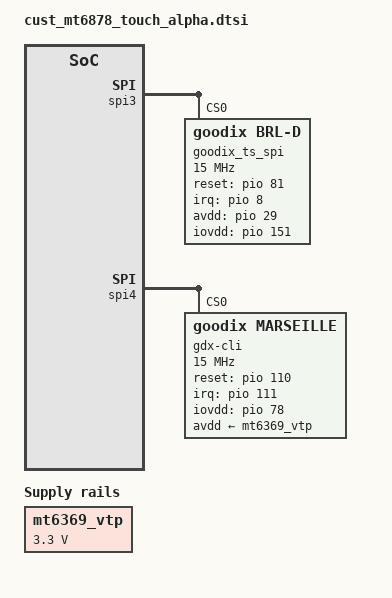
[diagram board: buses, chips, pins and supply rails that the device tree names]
// SPDX-License-Identifier: (GPL-2.0 OR MIT)
/*
 * Copyright (C) 2020 MediaTek Inc.
 */

/* TOUCH start */
&spi3 {
	status = "okay";
	#address-cells = <1>;
	#size-cells = <0>;
	pinctrl-names = "default", "gt9916_int_active",
		"gt9916_reset_active", "gt9916_int_suspend",
		"gt9916_reset_suspend", "gt9916_spi_mode";
	pinctrl-0 = <&ctp_gt9916_pins_default>;
	pinctrl-1 = <&ctp_gt9916_int_active>;
	pinctrl-2 = <&ctp_gt9916_reset_active>;
	pinctrl-3 = <&ctp_gt9916_int_suspend>;
	pinctrl-4 = <&ctp_gt9916_reset_suspend>;
	pinctrl-5 = <&ctp_gt9916_spi_mode>;

	goodix_ts_spi@0 {
		status = "ok";
		compatible = "goodix,brl-d";
		reg = <0x0>;
		spi-max-frequency = <15000000>;  /* 4800000,9600000,15000000,19200000 */

		goodix,panel-max-id = <10>;
		goodix,panel-max-x = <17280>;
		goodix,panel-max-y = <42240>;
		goodix,panel-max-w = <256>;
		goodix,panel-max-p = <256>;
		goodix,reset-gpio = <&pio 81 0x0>;
		goodix,irq-gpio = <&pio 8 0x2002>;
		goodix,irq-flags = <0x2002>; /* 1:trigger rising, 2:trigger falling;*/
		goodix,avdd-gpio = <&pio 29 0x0>;
		goodix,iovdd-gpio = <&pio 151 0x0>;
		goodix,firmware-name = "gt9916_glory_firmware_6878v01_alpha.bin";
		goodix,config-name = "gt9916_glory_cfg_6878v01_alpha.bin";
		gt9916,power-voltage = <2800000>;
		gt9916,firmware-name = "gt9916_glory_firmware_6878v01_alpha.bin";
		gt9916,config-name = "gt9916_glory_cfg_6878v01_alpha.bin";

		pinctrl-names = "default", "sleep", "pmx_ts_release";
		pinctrl-0 = <&ctp_gt9916_pins_default &ctp_gt9916_int_active
				&ctp_gt9916_reset_active &ctp_gt9916_spi_mode>;
		pinctrl-1 = <&ctp_gt9916_int_suspend &ctp_gt9916_reset_suspend>;
		pinctrl-2 = <&ctp_gt9916_gpio_release>;
	};
};

&spi4 {
	status = "okay";
	#address-cells = <1>;
	#size-cells = <0>;

	gdx-cli@0 {
		status = "ok";
		compatible = "goodix,marseille";
		reg = <0x0>;
		spi-max-frequency = <15000000>;

		goodix,panel-max-x = <16896>;
		goodix,panel-max-y = <17056>;
		goodix,panel-max-w = <256>;
		goodix,reset-gpio = <&pio 110 0x0>;
		goodix,irq-gpio = <&pio 111 0x2002>;
		goodix,irq-flags = <0x2002>; /* 1:trigger rising, 2:trigger falling;*/
		goodix,iovdd-gpio = <&pio 78 0x0>;
		goodix,avdd-name = "avdd";
		avdd-supply = <&mt6369_vtp>;
		goodix,firmware-name = "gt9615_glory_firmware_6878v01_alpha.bin";
		goodix,config-name = "gt9615_glory_cfg_6878v01_alpha.bin";

		pinctrl-names = "default", "sleep", "pmx_ts_release";
		pinctrl-0 = <&ctp_gt9615_pins_default &ctp_gt9615_int_active
				&ctp_gt9615_reset_active &ctp_gt9615_spi_mode>;
		pinctrl-1 = <&ctp_gt9615_int_suspend &ctp_gt9615_reset_suspend>;
		pinctrl-2 = <&ctp_gt9615_gpio_release>;
	};
};

&mt6369_vtp {
	regulator-min-microvolt = <3300000>;
	regulator-max-microvolt = <3300000>;
};

&pio {
	ctp_gt9916_pins_default: gt9916-pins-default {
	};
	ctp_gt9916_int_active: gt9916-int1-active {
		pins-cmd-dat {
			pinmux = <PINMUX_GPIO8__FUNC_GPIO8>;
			input-enable;
		};
	};
	ctp_gt9916_reset_active: gt9916-reset1-active {
		pins-cmd-dat {
			pinmux = <PINMUX_GPIO81__FUNC_GPIO81>;
			output-high;
		};
	};
	ctp_gt9916_int_suspend: gt9916-int1-suspend {
		pins-cmd-dat {
			pinmux = <PINMUX_GPIO8__FUNC_GPIO8>;
			output-low;
		};
	};
	ctp_gt9916_reset_suspend: gt9916-reset1-suspend {
		pins-cmd-dat {
			pinmux = <PINMUX_GPIO81__FUNC_GPIO81>;
			output-low;
		};
	};
	ctp_gt9916_spi_mode: gt9916-spimode-default {
		pins-cmd-dat {
			pinmux = <PINMUX_GPIO68__FUNC_SPI3_CLK>,
				<PINMUX_GPIO69__FUNC_SPI3_CSB>,
				<PINMUX_GPIO70__FUNC_SPI3_MO>,
				<PINMUX_GPIO71__FUNC_SPI3_MI>;
			drive-strength = <2>;
		};
	};
	ctp_gt9916_gpio_release: gt9916-gpio-release {
		pins-cmd-dat {
			pinmux = <PINMUX_GPIO8__FUNC_GPIO8>,
				<PINMUX_GPIO81__FUNC_GPIO81>;
			drive-strength = <2>;
			bias-disable;
		};
	};

	ctp_gt9615_pins_default: cli-pins-default {
	};
	ctp_gt9615_int_active: cli-int1-active {
		pins-cmd-dat {
			pinmux = <PINMUX_GPIO111__FUNC_GPIO111>;
			input-enable;
		};
	};
	ctp_gt9615_reset_active: cli-reset1-active {
		pins-cmd-dat {
			pinmux = <PINMUX_GPIO110__FUNC_GPIO110>;
			output-high;
		};
	};
	ctp_gt9615_int_suspend: cli-int1-suspend {
		pins-cmd-dat {
			pinmux = <PINMUX_GPIO111__FUNC_GPIO111>;
			output-low;
		};
	};
	ctp_gt9615_reset_suspend: cli-reset1-suspend {
		pins-cmd-dat {
			pinmux = <PINMUX_GPIO110__FUNC_GPIO110>;
			output-low;
		};
	};
	ctp_gt9615_spi_mode: cli-spimode-default {
		pins-cmd-dat {
			pinmux = <PINMUX_GPIO20__FUNC_SPI4_CLK>,
				<PINMUX_GPIO21__FUNC_SPI4_CSB>,
				<PINMUX_GPIO22__FUNC_SPI4_MO>,
				<PINMUX_GPIO23__FUNC_SPI4_MI>;
			drive-strength = <2>;
		};
	};
	ctp_gt9615_gpio_release: cli-gpio-release {
		pins-cmd-dat {
			pinmux = <PINMUX_GPIO111__FUNC_GPIO111>,
				<PINMUX_GPIO110__FUNC_GPIO110>;
			drive-strength = <2>;
			bias-disable;
		};
	};
};
/* TOUCH end */
